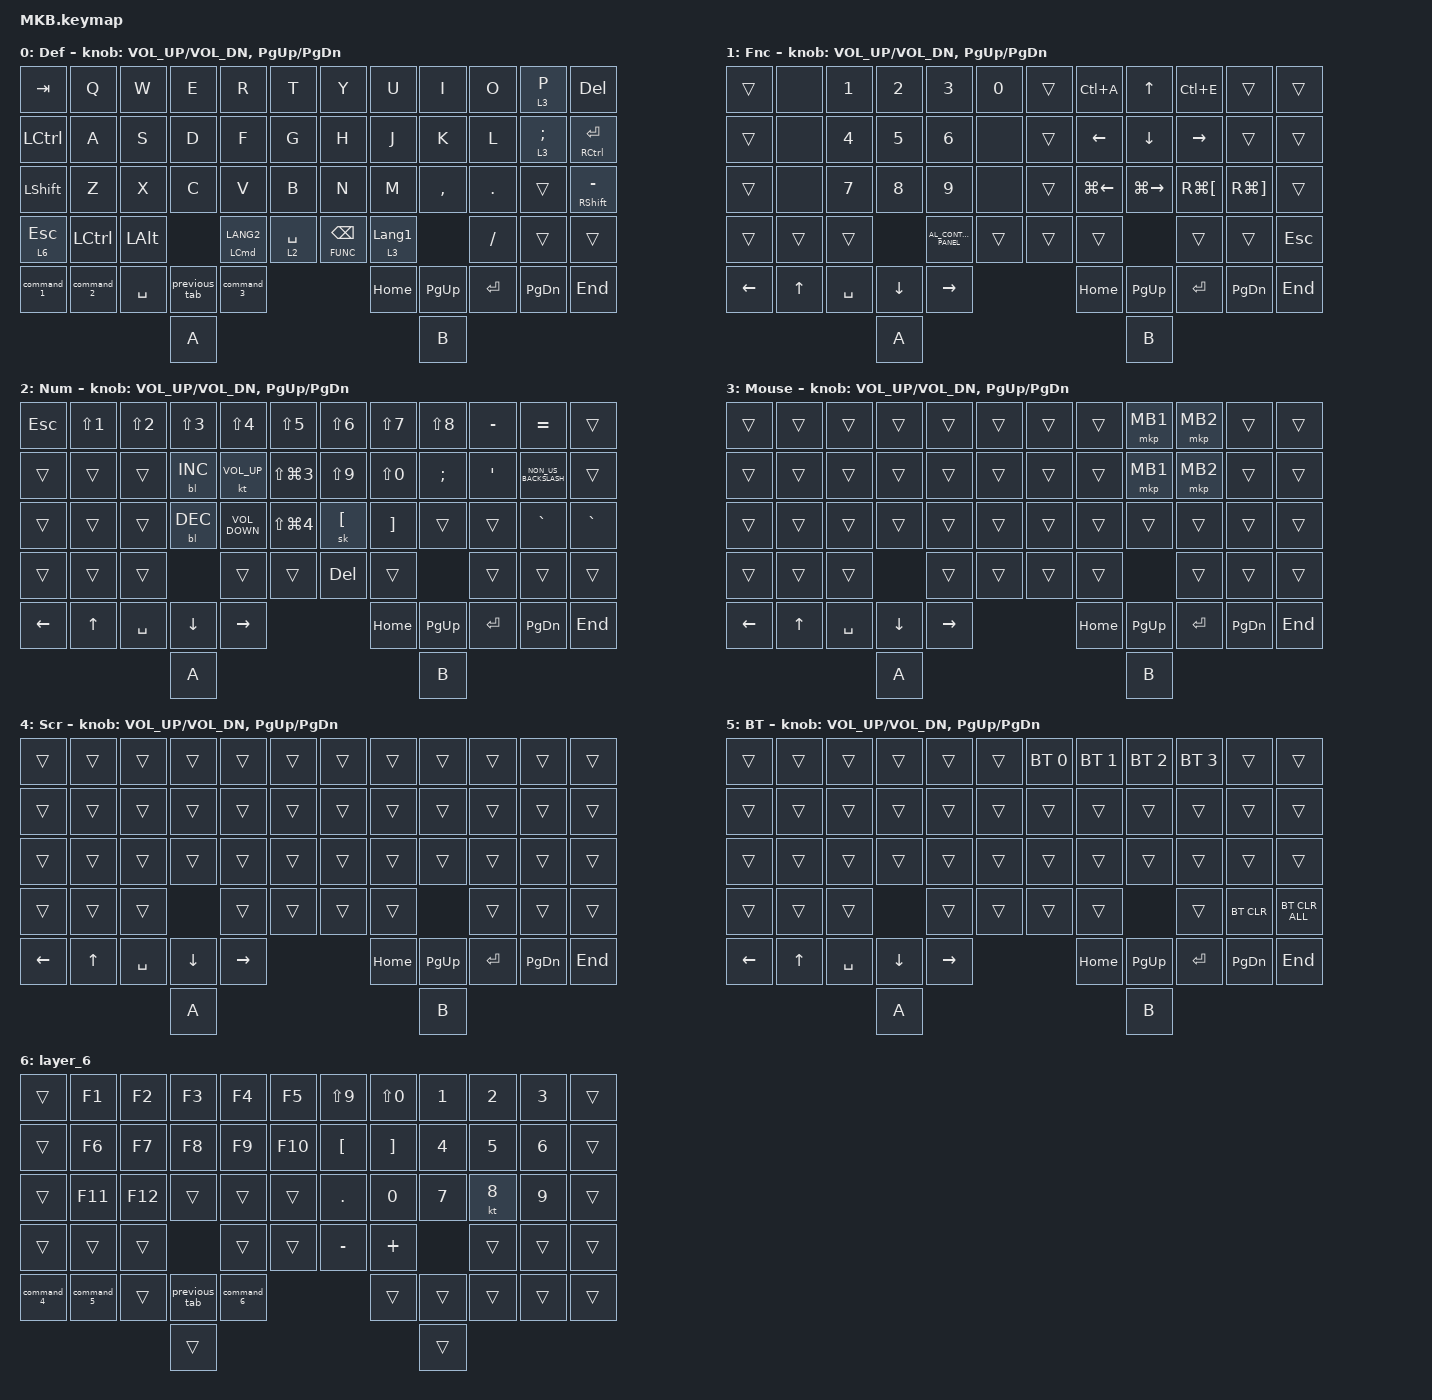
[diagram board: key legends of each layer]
// #include <layout_shift.dtsi>

#include <layout_shift_kp_override.dtsi>
#include <behaviors.dtsi>
#include <dt-bindings/zmk/backlight.h>
#include <dt-bindings/zmk/bt.h>
#include <dt-bindings/zmk/keys.h>
#include <dt-bindings/zmk/pointing.h>

#define DEF 0
#define FUNC 1
#define NUM 2
#define MOUSE 3
#define SCROLL 4
#define BT 5

&mt {
    flavor = "balanced";
    tapping-term-ms = <220>;
    quick-tap-ms = <175>;
    require-prior-idle-ms = <150>;
};

/ {
    combos {
        compatible = "zmk,combos";

        scroll {
            bindings = <&lt 1 K>;
            key-positions = <20 21>;
        };

        scroll2 {
            bindings = <&lt 1 I>;
            key-positions = <8 9>;
        };
    };

    macros {
        command_1: command_1 {
            compatible = "zmk,behavior-macro";
            #binding-cells = <0>;
            bindings = <&kp LG(NUMBER_1)>;
            label = "COMMAND_1";
        };

        command_2: command_2 {
            compatible = "zmk,behavior-macro";
            #binding-cells = <0>;
            bindings = <&kp LG(NUMBER_2)>;
            label = "COMMAND_2";
        };

        command_3: command_3 {
            compatible = "zmk,behavior-macro";
            #binding-cells = <0>;
            bindings = <&kp LG(NUMBER_3)>;
            label = "COMMAND_3";
        };

        command_4: command_4 {
            compatible = "zmk,behavior-macro";
            #binding-cells = <0>;
            bindings = <&kp LG(NUMBER_4)>;
            label = "COMMAND_4";
        };

        command_5: command_5 {
            compatible = "zmk,behavior-macro";
            #binding-cells = <0>;
            bindings = <&kp LG(N5)>;
            label = "COMMAND_5";
        };

        command_6: command_6 {
            compatible = "zmk,behavior-macro";
            #binding-cells = <0>;
            bindings = <&kp LG(NUMBER_6)>;
            label = "COMMAND_6";
        };

        command_7: command_7 {
            compatible = "zmk,behavior-macro";
            #binding-cells = <0>;
            bindings = <&kp LG(N7)>;
            label = "COMMAND_7";
        };

        previous_tab: previous_tab {
            compatible = "zmk,behavior-macro";
            #binding-cells = <0>;
            bindings = <&kp LC(TAB)>;
            label = "PREVIOUS_TAB";
        };
    };

    keymap {
        compatible = "zmk,keymap";

        default_layer {
            label = "Def";
            bindings = <
&kp TAB     &kp Q       &kp W         &kp E          &kp R                   &kp T            &kp Y               &kp U             &kp I      &kp O      &lt 3 P     &kp DELETE
&kp LCTRL   &kp A       &kp S         &kp D          &kp F                   &kp G            &kp H               &kp J             &kp K      &kp L      &lt 3 SEMI  &mt RIGHT_CONTROL ENTER
&kp LSHFT   &kp Z       &kp X         &kp C          &kp V                   &kp B            &kp N               &kp M             &kp COMMA  &kp DOT    &trans      &mt RIGHT_SHIFT MINUS
&lt 6 ESC   &kp LCTRL   &kp LEFT_ALT                 &mt LEFT_COMMAND LANG2  &lt 2 SPACE      &lt FUNC BACKSPACE  &lt 3 LANGUAGE_1             &kp SLASH  &trans      &trans
&command_1  &command_2  &kp SPACE     &previous_tab  &command_3                                                   &kp HOME          &kp PG_UP  &kp ENTER  &kp PG_DN   &kp END
                                      &kp A                                                                                         &kp B
            >;

            sensor-bindings = <&inc_dec_kp C_VOL_UP C_VOL_DN &inc_dec_kp PG_UP PG_DN>;
        };

        function_layer {
            label = "Fnc";
            bindings = <
&trans    &none   &kp NUMBER_1  &kp NUMBER_2  &kp NUMBER_3            &kp N0      &trans  &kp LC(A)       &kp UP_ARROW    &kp LC(E)             &trans                 &trans
&trans    &none   &kp NUMBER_4  &kp N5        &kp NUMBER_6            &none       &trans  &kp LEFT_ARROW  &kp DOWN_ARROW  &kp RIGHT_ARROW       &trans                 &trans
&trans    &none   &kp N7        &kp N8        &kp N9                  &none       &trans  &kp LG(LEFT)    &kp LG(RIGHT)   &kp RG(LEFT_BRACKET)  &kp RG(RIGHT_BRACKET)  &trans
&trans    &trans  &trans                      &kp C_AL_CONTROL_PANEL  &trans      &trans  &trans                          &trans                &trans                 &kp ESCAPE
&kp LEFT  &kp UP  &kp SPACE     &kp DOWN      &kp RIGHT                                   &kp HOME        &kp PG_UP       &kp ENTER             &kp PG_DN              &kp END
                                &kp A                                                                     &kp B
            >;

            sensor-bindings = <&inc_dec_kp C_VOL_UP C_VOL_DN &inc_dec_kp PG_UP PG_DN>;
        };

        num_layer {
            label = "Num";
            bindings = <
&kp ESCAPE  &kp LS(N1)  &kp LS(N2)  &kp LS(N3)  &kp LS(N4)         &kp LS(N5)                &kp LS(N6)        &kp LS(N7)         &kp LS(N8)     &kp MINUS  &kp EQUAL             &trans
&trans      &trans      &trans      &bl BL_INC  &kt C_VOLUME_UP    &kp LS(LG(NUMBER_3))      &kp LS(N9)        &kp LS(N0)         &kp SEMICOLON  &kp SQT    &kp NON_US_BACKSLASH  &trans
&trans      &trans      &trans      &bl BL_DEC  &kp C_VOLUME_DOWN  &kp LS(LG(NUMBER_4))      &sk LEFT_BRACKET  &kp RIGHT_BRACKET  &trans         &trans     &kp GRAVE             &kp GRAVE
&trans      &trans      &trans                  &trans             &trans                    &kp DELETE        &trans                            &trans     &trans                &trans
&kp LEFT    &kp UP      &kp SPACE   &kp DOWN    &kp RIGHT                                                      &kp HOME           &kp PG_UP      &kp ENTER  &kp PG_DN             &kp END
                                    &kp A                                                                                         &kp B
            >;

            sensor-bindings = <&inc_dec_kp C_VOL_UP C_VOL_DN &inc_dec_kp PG_UP PG_DN>;
        };

        mouse_layer {
            label = "Mouse";
            bindings = <
&trans    &trans  &trans     &trans    &trans     &trans      &trans  &trans    &mkp MB1   &mkp MB2   &trans     &trans
&trans    &trans  &trans     &trans    &trans     &trans      &trans  &trans    &mkp MB1   &mkp MB2   &trans     &trans
&trans    &trans  &trans     &trans    &trans     &trans      &trans  &trans    &trans     &trans     &trans     &trans
&trans    &trans  &trans               &trans     &trans      &trans  &trans               &trans     &trans     &trans
&kp LEFT  &kp UP  &kp SPACE  &kp DOWN  &kp RIGHT                      &kp HOME  &kp PG_UP  &kp ENTER  &kp PG_DN  &kp END
                             &kp A                                              &kp B
            >;

            sensor-bindings = <&inc_dec_kp C_VOL_UP C_VOL_DN &inc_dec_kp PG_UP PG_DN>;
        };

        scroll_layer {
            label = "Scr";
            bindings = <
&trans    &trans  &trans     &trans    &trans     &trans      &trans  &trans    &trans     &trans     &trans     &trans
&trans    &trans  &trans     &trans    &trans     &trans      &trans  &trans    &trans     &trans     &trans     &trans
&trans    &trans  &trans     &trans    &trans     &trans      &trans  &trans    &trans     &trans     &trans     &trans
&trans    &trans  &trans               &trans     &trans      &trans  &trans               &trans     &trans     &trans
&kp LEFT  &kp UP  &kp SPACE  &kp DOWN  &kp RIGHT                      &kp HOME  &kp PG_UP  &kp ENTER  &kp PG_DN  &kp END
                             &kp A                                              &kp B
            >;

            sensor-bindings = <&inc_dec_kp C_VOL_UP C_VOL_DN &inc_dec_kp PG_UP PG_DN>;
        };

        bt_layer {
            label = "BT";
            bindings = <
&trans    &trans  &trans     &trans    &trans     &trans      &bt BT_SEL 0  &bt BT_SEL 1  &bt BT_SEL 2  &bt BT_SEL 3  &trans      &trans
&trans    &trans  &trans     &trans    &trans     &trans      &trans        &trans        &trans        &trans        &trans      &trans
&trans    &trans  &trans     &trans    &trans     &trans      &trans        &trans        &trans        &trans        &trans      &trans
&trans    &trans  &trans               &trans     &trans      &trans        &trans                      &trans        &bt BT_CLR  &bt BT_CLR_ALL
&kp LEFT  &kp UP  &kp SPACE  &kp DOWN  &kp RIGHT                            &kp HOME      &kp PG_UP     &kp ENTER     &kp PG_DN   &kp END
                             &kp A                                                        &kp B
            >;

            sensor-bindings = <&inc_dec_kp C_VOL_UP C_VOL_DN &inc_dec_kp PG_UP PG_DN>;
        };

        layer_6 {
            bindings = <
&trans      &kp F1      &kp F2   &kp F3         &kp F4      &kp F5       &kp LS(N9)        &kp LS(N0)         &kp NUMBER_1  &kp NUMBER_2  &kp NUMBER_3  &trans
&trans      &kp F6      &kp F7   &kp F8         &kp F9      &kp F10      &kp LEFT_BRACKET  &kp RIGHT_BRACKET  &kp NUMBER_4  &kp N5        &kp NUMBER_6  &trans
&trans      &kp F11     &kp F12  &trans         &trans      &trans       &kp PERIOD        &kp N0             &kp N7        &kt N8        &kp N9        &trans
&trans      &trans      &trans                  &trans      &trans       &kp MINUS         &kp PLUS                         &trans        &trans        &trans
&command_4  &command_5  &trans   &previous_tab  &command_6                                 &trans             &trans        &trans        &trans        &trans
                                 &trans                                                                       &trans
            >;
        };
    };

    conditional_layers {
        compatible = "zmk,conditional-layers";

        Bluetooth-ON {
            if-layers = <2 6>;
            then-layer = <5>;
        };
    };
};
